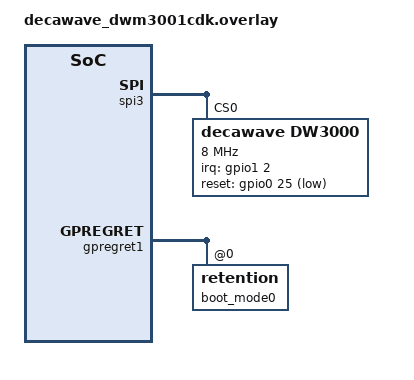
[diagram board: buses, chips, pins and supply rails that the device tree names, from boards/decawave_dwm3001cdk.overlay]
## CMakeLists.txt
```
cmake_minimum_required(VERSION 3.20.0)

# DW3000 driver module discovery:
#   - West workspace: auto-discovered from west.yml (WEST_TOPDIR is set)
#   - Fallback: build.sh passes -DZEPHYR_EXTRA_MODULES, or detect sibling dir
if(NOT DEFINED ZEPHYR_EXTRA_MODULES AND NOT DEFINED WEST_TOPDIR)
    if(EXISTS "${CMAKE_CURRENT_SOURCE_DIR}/../zephyr-dw3000-decadriver/zephyr/module.yml")
        list(APPEND ZEPHYR_EXTRA_MODULES
            ${CMAKE_CURRENT_SOURCE_DIR}/../zephyr-dw3000-decadriver
        )
    endif()
endif()

find_package(Zephyr REQUIRED HINTS $ENV{ZEPHYR_BASE})

project(uwb_mesh_tracker VERSION 1.0.0)

target_sources(app PRIVATE
    src/main.c
    src/uwb_manager.c
    src/thread_coap.c
    src/device_config.c
    src/uci.c
    src/uci_uart.c
    src/uci_coap.c
)

target_include_directories(app PRIVATE src)

# Workaround: pm_sysflash.h in the MCUboot utility library only checks
# CONFIG_SINGLE_APPLICATION_SLOT (an MCUboot-only Kconfig), not
# CONFIG_MCUBOOT_BOOTLOADER_MODE_SINGLE_APP (the app-level equivalent).
# Propagate the define so the correct single-slot code path is used.
if(CONFIG_MCUBOOT_BOOTLOADER_MODE_SINGLE_APP)
    zephyr_compile_definitions(CONFIG_SINGLE_APPLICATION_SLOT=1)
endif()
```

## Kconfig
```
mainmenu "UWB Mesh Tracker Configuration"

# Node role selection
choice NODE_ROLE
    prompt "Node Role"
    default NODE_ROLE_ANCHOR

config NODE_ROLE_ANCHOR
    bool "Anchor (fixed, DS-TWR responder)"
    help
      This node acts as a fixed anchor. It responds to DS-TWR ranging
      requests from tags, calculates the distance, and reports it to
      the CoAP server over the Thread network.

config NODE_ROLE_TAG
    bool "Tag (mobile, DS-TWR initiator)"
    help
      This node acts as a mobile tag. It initiates DS-TWR exchanges
      with each known anchor to measure distances.

endchoice

config UWB_NODE_SHORT_ADDR
    hex "Node 16-bit UWB short address"
    default 0x0001
    range 0x0001 0xFFFE
    help
      Unique 16-bit short address for this node's UWB MAC.
      Must be unique across all anchors and tags in the network.
      Anchors: 0x0001-0x00FF, Tags: 0x0100-0xFFFE (convention).

config UWB_RANGING_INTERVAL_MS
    int "Ranging interval in milliseconds"
    default 1000
    range 100 10000
    help
      Time between successive ranging cycles. For tags, this is the
      delay between completing one full sweep of all anchors and
      starting the next.

config COAP_SERVER_ADDR
    string "CoAP server IPv6 address"
    default "ff03::1"
    help
      IPv6 address of the CoAP server to POST distance measurements to.
      Default ff03::1 is the Thread realm-local all-nodes multicast.
      For production, set to the server's Thread mesh-local address
      (e.g., "fdde:ad00:beef::1") for unicast delivery.

config COAP_SERVER_PORT
    int "CoAP server port"
    default 5683
    help
      UDP port of the CoAP server.

config THREAD_NETWORK_KEY
    string "OpenThread Network Key (16 bytes hex)"
    default "00:11:22:33:44:55:66:77:88:99:aa:bb:cc:dd:ee:ff"
    help
      OpenThread network key. Must match across all nodes and the
      border router. Change this for production deployments.

config THREAD_CHANNEL
    int "OpenThread channel"
    default 15
    range 11 26
    help
      IEEE 802.15.4 channel for the Thread network.

config THREAD_PAN_ID
    hex "OpenThread PAN ID"
    default 0xABCD
    help
      Thread network PAN ID. Must match across all nodes.

config UCI_AUTOSTART
    bool "Auto-start ranging on boot"
    default y
    help
      When enabled, the device starts UWB ranging immediately on boot
      using the saved configuration. When disabled, ranging must be
      started via a UCI START command.

source "Kconfig.zephyr"
```

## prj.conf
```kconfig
# ============================================================
# UWB Mesh Tracker - Base Project Configuration
# Board-specific overrides go in boards/<board>.conf
# ============================================================

# --- OpenThread (Full Thread Device) ---
CONFIG_OPENTHREAD_FTD=y
CONFIG_OPENTHREAD=y

# --- Networking ---
CONFIG_NETWORKING=y
CONFIG_NET_L2_OPENTHREAD=y
CONFIG_NET_IPV6=y
CONFIG_NET_UDP=y
CONFIG_NET_SOCKETS=y
CONFIG_NET_SOCKETS_POLL_MAX=4
CONFIG_NET_CONNECTION_MANAGER=y

# --- CoAP ---
CONFIG_COAP=y
CONFIG_OPENTHREAD_COAP=y

# --- DW3000 UWB Driver ---
CONFIG_DW3000=y
CONFIG_SPI=y
CONFIG_GPIO=y

# --- System ---
CONFIG_FPU=y
CONFIG_NEWLIB_LIBC=y
CONFIG_CBPRINTF_FP_SUPPORT=y

# --- Stacks & Heap ---
CONFIG_MAIN_STACK_SIZE=4096
CONFIG_SYSTEM_WORKQUEUE_STACK_SIZE=8192
CONFIG_HEAP_MEM_POOL_SIZE=16384

# --- OpenThread Network Parameters (override in boards/*.conf) ---
CONFIG_OPENTHREAD_NETWORKKEY="00:11:22:33:44:55:66:77:88:99:aa:bb:cc:dd:ee:ff"
CONFIG_OPENTHREAD_CHANNEL=15
CONFIG_OPENTHREAD_PANID=43981
CONFIG_OPENTHREAD_XPANID="11:11:11:11:22:22:22:22"

# --- Shell (disabled — UCI replaces it; saves ~3KB RAM) ---
CONFIG_SHELL=n
CONFIG_OPENTHREAD_SHELL=n

# --- Reboot support (for factory reset command) ---
CONFIG_REBOOT=y

# --- Boot mode retention (enter MCUboot serial recovery via UCI command) ---
CONFIG_RETAINED_MEM=y
CONFIG_RETENTION=y
CONFIG_RETENTION_BOOT_MODE=y

# --- UCI UART transport requires interrupt-driven RX ---
CONFIG_UART_INTERRUPT_DRIVEN=y

# --- Settings (needed for OpenThread credential storage) ---
CONFIG_SETTINGS=y
CONFIG_SETTINGS_RUNTIME=y
CONFIG_NVS=y

# --- Logging ---
CONFIG_LOG=y
CONFIG_LOG_DEFAULT_LEVEL=3
CONFIG_DW3000_LOG_LEVEL_WRN=y

# --- IEEE 802.15.4 (Thread radio driver, L2 handled by OpenThread) ---
CONFIG_IEEE802154=y
```

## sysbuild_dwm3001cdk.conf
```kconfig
# DWM3001CDK (nRF52833, 512KB flash) — single-slot MCUboot (secure boot only,
# OTA not supported — 512KB flash too small for dual-slot with ~330KB app image)
SB_CONFIG_MCUBOOT_MODE_SINGLE_APP=y
```

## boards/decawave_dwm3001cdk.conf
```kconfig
# ============================================================
# Decawave DWM3001CDK Configuration
# Embedded nRF52833 + QM33120 (DW3720-compatible) UWB module
# Default role: TAG
# ============================================================

# Chip variant: raw SPI reads 0xDECA0302 (DW3000 family, non-PDOA silicon).
# Using DW3000 driver (devid=0xDECA0312, mask=0xFFFFFF0F) which matches 0x0302.
CONFIG_DW3000_CHIP_DW3000=y

# Node role: tag by default for DWM3001CDK
CONFIG_NODE_ROLE_TAG=y

# Node address for this tag (change per device)
# Tag addresses: 0x0100, 0x0101, 0x0102, ...
CONFIG_UWB_NODE_SHORT_ADDR=0x0100

# UART log backend
CONFIG_LOG_BACKEND_UART=y

# Log thread at priority 1 (just below UWB thread at 2, above everything else)
CONFIG_LOG_PROCESS_THREAD_CUSTOM_PRIORITY=y
CONFIG_LOG_PROCESS_THREAD_PRIORITY=1

# Reduce settings partition from 32KB to 16KB (512KB flash is tight with MCUboot)
CONFIG_PM_PARTITION_SIZE_SETTINGS_STORAGE=0x4000

# --- RAM savings (nRF52833 has only 128KB RAM) ---
# Override prj.conf stack/heap increases that were needed for anchor's MCUmgr crash
CONFIG_SYSTEM_WORKQUEUE_STACK_SIZE=2048
CONFIG_HEAP_MEM_POOL_SIZE=8192

# --- nRF SDK-specific settings (not in upstream Zephyr) ---
CONFIG_COAP_UTILS=y
CONFIG_MBEDTLS_SHA1_C=n
CONFIG_DK_LIBRARY=y

# --- MCUmgr OTA (SMP over UDP) ---
CONFIG_MCUMGR=y
CONFIG_ZCBOR=y
CONFIG_CRC=y
CONFIG_STREAM_FLASH=y
CONFIG_FLASH=y
CONFIG_FLASH_MAP=y
CONFIG_IMG_MANAGER=y
CONFIG_MCUMGR_GRP_IMG=y
CONFIG_MCUMGR_GRP_OS=y
CONFIG_MCUMGR_TRANSPORT_UDP=y
CONFIG_MCUMGR_TRANSPORT_UDP_IPV6=y
CONFIG_MCUMGR_TRANSPORT_UDP_STACK_SIZE=2048
CONFIG_MCUMGR_TRANSPORT_UDP_THREAD_PRIO=5
CONFIG_NET_SOCKETS_POLL_MAX=6
```

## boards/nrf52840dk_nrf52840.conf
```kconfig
# ============================================================
# nRF52840 DK + DWM3000EVB Shield Configuration
# Default role: ANCHOR
# ============================================================

# DW3000 chip variant (standard DW3000 on DWM3000EVB)
CONFIG_DW3000_CHIP_DW3000=y

# Node role: anchor by default for nRF52840DK
CONFIG_NODE_ROLE_ANCHOR=y

# Node address for this anchor (change per device)
# Anchor addresses: 0x0001, 0x0002, 0x0003, ...
CONFIG_UWB_NODE_SHORT_ADDR=0x0001

# UART1 must be disabled for DWM3000EVB shield SPI polarity/phase pins
# (already handled in shield overlay)

# Disable external QSPI NOR flash (MX25R6435F) - we don't need it
# and it can hang during init on some hardware configurations
CONFIG_NORDIC_QSPI_NOR=n

# UART log backend (output via J-Link virtual COM port, /dev/ttyACM1 or ACM2)
CONFIG_LOG_BACKEND_UART=y

# Log thread at priority 1 (just below UWB thread at 2, above everything else)
CONFIG_LOG_PROCESS_THREAD_CUSTOM_PRIORITY=y
CONFIG_LOG_PROCESS_THREAD_PRIORITY=1

# --- nRF SDK-specific settings (not in upstream Zephyr) ---
CONFIG_COAP_UTILS=y
CONFIG_PM_PARTITION_SIZE_SETTINGS_STORAGE=0x8000
CONFIG_MBEDTLS_SHA1_C=n
CONFIG_DK_LIBRARY=y

# --- MCUmgr OTA (SMP over UDP) ---
CONFIG_MCUMGR=y
CONFIG_ZCBOR=y
CONFIG_CRC=y
CONFIG_STREAM_FLASH=y
CONFIG_FLASH=y
CONFIG_FLASH_MAP=y
CONFIG_IMG_MANAGER=y
CONFIG_MCUMGR_GRP_IMG=y
CONFIG_MCUMGR_GRP_OS=y
CONFIG_MCUMGR_TRANSPORT_UDP=y
CONFIG_MCUMGR_TRANSPORT_UDP_IPV6=y
CONFIG_MCUMGR_TRANSPORT_UDP_STACK_SIZE=2048
CONFIG_MCUMGR_TRANSPORT_UDP_THREAD_PRIO=5
CONFIG_NET_SOCKETS_POLL_MAX=6
```

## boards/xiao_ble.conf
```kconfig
# ============================================================
# Seeed XIAO BLE (nRF52840) + DWM3000EVB (jumper wires)
# Default role: TAG (addr 0x0200)
# nRF52840: 1024KB flash, 256KB RAM — MCUboot dual-slot with OTA
# ============================================================

# DW3000 chip variant (standard DW3000 on DWM3000EVB)
CONFIG_DW3000_CHIP_DW3000=y

# Node role: anchor by default for XIAO BLE
CONFIG_NODE_ROLE_ANCHOR=y

# Node address for this tag
# Tag addresses: 0x0100 (DWM3001CDK), 0x0200 (XIAO), 0x0201, ...
CONFIG_UWB_NODE_SHORT_ADDR=0x0200

# Disable QSPI NOR flash (not needed for this application)
CONFIG_NORDIC_QSPI_NOR=n

# DK library for LED control (XIAO has 3 RGB LEDs, no buttons)
CONFIG_DK_LIBRARY=y

# Log backends
CONFIG_LOG_BACKEND_UART=y
CONFIG_USE_SEGGER_RTT=y
CONFIG_LOG_BACKEND_RTT=y

# Log thread at priority 1 (just below UWB thread at 2, above everything else)
CONFIG_LOG_PROCESS_THREAD_CUSTOM_PRIORITY=y
CONFIG_LOG_PROCESS_THREAD_PRIORITY=1

# MCUmgr for OTA updates (MCUboot enabled via sysbuild)
CONFIG_ZCBOR=y
CONFIG_MCUMGR=y
CONFIG_IMG_MANAGER=y
CONFIG_MCUMGR_GRP_IMG=y
CONFIG_MCUMGR_GRP_OS=y
CONFIG_MCUMGR_TRANSPORT_UDP=y
CONFIG_MCUMGR_TRANSPORT_UDP_IPV6=y
CONFIG_MCUMGR_TRANSPORT_UDP_STACK_SIZE=2048
CONFIG_MCUMGR_TRANSPORT_UDP_THREAD_PRIO=5
CONFIG_STREAM_FLASH=y

# Boot mode retention (enter MCUboot via UCI command)
CONFIG_RETAINED_MEM=y
CONFIG_RETENTION=y
CONFIG_RETENTION_BOOT_MODE=y

# Hardware watchdog (auto-reset on hang instead of requiring power cycle)
CONFIG_WATCHDOG=y
CONFIG_WDT_DISABLE_AT_BOOT=n

# --- nRF SDK-specific settings (not in upstream Zephyr) ---
CONFIG_COAP_UTILS=y
CONFIG_MBEDTLS_SHA1_C=n
```

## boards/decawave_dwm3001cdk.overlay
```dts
/*
 * DWM3001CDK DW3000 UWB device overlay
 *
 * The DWM3001CDK module has an embedded QM33120 (DW3720-compatible)
 * UWB chip connected to the nRF52833 via SPI3.
 *
 * SPI3 pins (from base board DTS / pinctrl):
 *   SCK:  P0.03
 *   MOSI: P0.08
 *   MISO: P0.29
 *   CS:   P1.06 (cs-gpios in base DTS)
 *
 * UWB chip control pins (from Qorvo DWM3001CDK FreeRTOS SDK
 * CLI/DWM3001CDK/ProjectDefinition/uwb_stack_llhw.cmake):
 *   IRQ:    P1.02  (active high)
 *   RESET:  P0.25  (active low)
 *   WAKEUP: P1.19  (active high) — NOT used; QM33120 wakes via CS pin toggle
 *
 * The QM33120 on DWM3001CDK wakes from deep sleep via SPI CS held low for
 * ≥400µs (Qorvo SDK: WAKEUP_CS_TOGGLE_US=400, WAKEUP_DELAY_US=500).
 * The WAKEUP GPIO pin approach (1ms pulse) does not reliably wake the chip.
 * Omitting wakeup-gpios forces dw3000_hw_wakeup() to use CS-based wakeup.
 */

&spi3 {
    dw3000: dw3000@0 {
        compatible = "decawave,dw3000";
        spi-max-frequency = <8000000>;
        reg = <0>;
        irq-gpios   = <&gpio1 2  GPIO_ACTIVE_HIGH>;
        reset-gpios = <&gpio0 25 GPIO_ACTIVE_LOW>;
    };
};

/* Boot mode retention via GPREGRET register — allows entering MCUboot serial
 * recovery without physical button press (UCI enter-bootloader command).
 * GPREGRET1 is a 1-byte hardware register that survives soft resets. */
&gpregret1 {
	boot_mode0: boot_mode@0 {
		compatible = "zephyr,retention";
		status = "okay";
		reg = <0x0 0x1>;
	};
};

/ {
	chosen {
		zephyr,boot-mode = &boot_mode0;
	};
};
```

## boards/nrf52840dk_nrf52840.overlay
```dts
/*
 * DWM3000EVB Shield overlay for nRF52840 DK
 *
 * The DWM3000EVB plugs into the Arduino header of the nRF52840 DK.
 * Pin mapping from qorvo_dws3000 shield:
 *   SPI:     arduino_spi (SPI3)
 *   CS:      D10 = P1.12
 *   WAKEUP:  D9  = P1.11
 *   IRQ:     D8  = P1.10
 *   RESET:   D7  = P1.08
 *   SPI_POL: D1  = P1.02  (requires UART1 disabled)
 *   SPI_PHA: D0  = P1.01  (requires UART1 disabled)
 *
 * NOTE: UART1 must be disabled so its pins (P1.01, P1.02) are free
 * for the DWM3000EVB SPI polarity/phase control.
 */

/* Disable UART1 to free Arduino D0/D1 pins for DWM3000EVB */
arduino_serial: &uart1 {
    status = "disabled";
};

/* Add DW3000 device to the Arduino SPI bus */
&arduino_spi {
    status = "okay";
    cs-gpios = <&arduino_header 16 GPIO_ACTIVE_LOW>; /* D10 = P1.12 */

    dw3000: dw3000@0 {
        compatible = "decawave,dw3000";
        spi-max-frequency = <16000000>;
        reg = <0>;
        wakeup-gpios  = <&arduino_header 15 GPIO_ACTIVE_HIGH>; /* D9  = P1.11 */
        irq-gpios     = <&arduino_header 14 GPIO_ACTIVE_HIGH>; /* D8  = P1.10 */
        reset-gpios   = <&arduino_header 13 GPIO_ACTIVE_LOW>;  /* D7  = P1.08 */
        spi-pol-gpios = <&arduino_header  7 GPIO_ACTIVE_LOW>;  /* D1  = P1.02 */
        spi-pha-gpios = <&arduino_header  6 GPIO_ACTIVE_LOW>;  /* D0  = P1.01 */
    };
};
```

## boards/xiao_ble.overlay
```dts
/*
 * DWM3000EVB wiring overlay for Seeed XIAO BLE (nRF52840)
 *
 * The XIAO has no Arduino header — the DWM3000EVB is connected via
 * jumper wires to the XIAO's D0–D10 breakout pins.
 *
 * Wiring:
 *   SPI SCK:   D8  (P1.13) — SPI2 clock
 *   SPI MOSI:  D10 (P1.15) — SPI2 master-out
 *   SPI MISO:  D9  (P1.14) — SPI2 master-in
 *   SPI CS:    D0  (P0.02) — chip select (active low)
 *   IRQ:       D1  (P0.03) — interrupt (active high)
 *   RESET:     D2  (P0.28) — reset (active low)
 *   WAKEUP:    D3  (P0.29) — wakeup (active high)
 *   SPI_POL:   D4  (P0.04) — SPI polarity control
 *   SPI_PHA:   D5  (P0.05) — SPI phase control
 *   3V3:       3V3          — power
 *   GND:       GND          — ground
 *
 * UART0 (D6=P1.11 TX, D7=P1.12 RX) remains available for UCI
 * serial transport via USB-C CDC ACM.
 *
 * NOTE: I2C1 is disabled because its SDA/SCL pins (P0.04/P0.05 = D4/D5)
 * are repurposed for DWM3000EVB SPI_POL/SPI_PHA.
 */

/* Disable I2C1 — its pins (D4/D5) are used for SPI_POL/SPI_PHA */
&i2c1 {
	status = "disabled";
};

/* Override SPI2 to use SPIM (DMA) instead of SPI (polled) for DW3000 */
&spi2 {
	compatible = "nordic,nrf-spim";
	status = "okay";
	cs-gpios = <&xiao_d 0 GPIO_ACTIVE_LOW>;  /* D0 = P0.02 */

	dw3000: dw3000@0 {
		compatible = "decawave,dw3000";
		spi-max-frequency = <16000000>;
		reg = <0>;
		irq-gpios     = <&xiao_d 1 GPIO_ACTIVE_HIGH>;  /* D1 = P0.03 */
		reset-gpios   = <&xiao_d 2 GPIO_ACTIVE_LOW>;   /* D2 = P0.28 */
		wakeup-gpios  = <&xiao_d 3 GPIO_ACTIVE_HIGH>;  /* D3 = P0.29 */
		spi-pol-gpios = <&xiao_d 4 GPIO_ACTIVE_LOW>;   /* D4 = P0.04 */
		spi-pha-gpios = <&xiao_d 5 GPIO_ACTIVE_LOW>;   /* D5 = P0.05 */
	};
};

/*
 * MCUboot partition layout — replaces UF2+SoftDevice layout.
 * Partition manager (pm_static_xiao_ble.yml) handles actual layout.
 * DTS overrides here keep nodelabels consistent for MCUboot/sysbuild.
 */

/* Repurpose existing partitions from UF2 layout */
&boot_partition {
	reg = <0x00000 0xC000>;
	label = "mcuboot";
};

&code_partition {
	label = "image-0";
	reg = <0x0C000 0x6E000>;
};

&storage_partition {
	reg = <0xF8000 0x8000>;
};

/* Add MCUboot slot partitions */
&flash0 {
	partitions {
		slot0_partition: partition@c000 {
			label = "image-0";
			reg = <0x0C000 0x6E000>;  /* 440 KB */
		};
		slot1_partition: partition@7a000 {
			label = "image-1";
			reg = <0x7A000 0x6E000>;  /* 440 KB */
		};
		scratch_partition: partition@e8000 {
			label = "image-scratch";
			reg = <0xE8000 0x10000>;  /* 64 KB */
		};
	};
};
```

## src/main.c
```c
/*
 * UWB Mesh Tracker - Main Application
 *
 * Boot sequence:
 *   1. Load config from NVS (or Kconfig defaults on first boot)
 *   2. Initialize LEDs
 *   3. Initialize Thread/CoAP networking
 *   4. Start UCI CoAP server (remote commands over Thread)
 *   5. Initialize DW3000 UWB transceiver
 *   6. Start UCI command interface on UART
 *   7. Auto-start ranging (if config says so)
 */

#include <zephyr/kernel.h>
#include <zephyr/logging/log.h>
#include <zephyr/sys/printk.h>
#include <zephyr/drivers/watchdog.h>
#include "leds.h"

#include "device_config.h"
#include "uwb_manager.h"
#include "thread_coap.h"

LOG_MODULE_REGISTER(main, LOG_LEVEL_INF);

/* UCI transport init (defined in uci_uart.c and uci_coap.c) */
extern int uci_uart_init(void);
extern int uci_coap_init(void);

/* LED assignments */
#define LED_THREAD_OK   DK_LED1
#define LED_RANGING     DK_LED2

/* Non-blocking LED pulse: turn on in callback, schedule off via work item */
static void led_off_handler(struct k_work *work)
{
    dk_set_led(LED_RANGING, 0);
}
static K_WORK_DELAYABLE_DEFINE(led_off_work, led_off_handler);

/* ── Distance callback (called from UWB thread) ─────────────────── */
static void on_distance_measured(uint16_t anchor_id, uint16_t tag_id,
                                  float distance_m,
                                  int16_t rssi_q8, int16_t fp_power_q8,
                                  uint16_t fp_index, uint16_t peak_index)
{
    dk_set_led(LED_RANGING, 1);
    k_work_schedule(&led_off_work, K_MSEC(20));

    if (g_config.role == ROLE_ANCHOR) {
        thread_coap_send_distance(anchor_id, tag_id, distance_m,
                                  rssi_q8, fp_power_q8, fp_index, peak_index);
    }
}

/* ── Application Entry Point ─────────────────────────────────────── */
int main(void)
{
    int ret;

    printk("=== UWB Mesh Tracker boot ===\n");

    /* 1. Load persistent config */
    ret = device_config_init();
    if (ret) {
        LOG_ERR("Config init failed: %d", ret);
        return ret;
    }

    LOG_INF("Board: %s | Role: %s | Addr: 0x%04X",
            CONFIG_BOARD,
            g_config.role == ROLE_ANCHOR ? "ANCHOR" : "TAG",
            g_config.uwb_addr);

    /* 2. Initialize LEDs */
    ret = dk_leds_init();
    if (ret) {
        LOG_WRN("LED init failed: %d (continuing)", ret);
    }

    /* 3. Initialize Thread networking and CoAP client */
    ret = thread_coap_init();
    if (ret) {
        LOG_ERR("Thread/CoAP init failed: %d", ret);
        return ret;
    }

    /* 4. Start UCI CoAP server (remote commands over Thread) */
    ret = uci_coap_init();
    if (ret) {
        LOG_WRN("UCI CoAP init failed: %d (remote commands unavailable)", ret);
    }

    /* 5. Initialize DW3000 UWB transceiver */
    ret = uwb_manager_init();
    if (ret) {
        LOG_ERR("UWB manager init failed: %d", ret);
        return ret;
    }

    uwb_manager_set_distance_cb(on_distance_measured);
    uwb_manager_set_cir_cb(thread_coap_send_cir);

    /* 6. Start UCI command interface */
    ret = uci_uart_init();
    if (ret) {
        LOG_ERR("UCI UART init failed: %d", ret);
        return ret;
    }

    /* 7. Auto-start ranging if configured */
    if (g_config.autostart) {
        ret = uwb_manager_start();
        if (ret) {
            LOG_ERR("UWB manager start failed: %d", ret);
        }
    } else {
        LOG_INF("Ranging not auto-started (send UCI START command)");
    }

    /* Turn on LED1 to indicate app is running */
    dk_set_led_on(LED_THREAD_OK);

    /* Initialize hardware watchdog (auto-reset on hang) */
    int wdt_channel_id = -1;
#if defined(CONFIG_WATCHDOG)
    const struct device *const wdt_dev = DEVICE_DT_GET_OR_NULL(DT_ALIAS(watchdog0));
    if (wdt_dev && device_is_ready(wdt_dev)) {
        struct wdt_timeout_cfg wdt_cfg = {
            .window.min = 0,
            .window.max = 10000,  /* 10 second timeout */
            .callback = NULL,     /* reset on timeout */
            .flags = WDT_FLAG_RESET_SOC,
        };
        wdt_channel_id = wdt_install_timeout(wdt_dev, &wdt_cfg);
        if (wdt_channel_id >= 0) {
            wdt_setup(wdt_dev, WDT_OPT_PAUSE_HALTED_BY_DBG);
            LOG_INF("Watchdog enabled (10s timeout)");
        } else {
            LOG_WRN("Watchdog install failed: %d", wdt_channel_id);
        }
    }
#endif

    LOG_INF("Startup complete.");

    while (1) {
#if defined(CONFIG_WATCHDOG)
        if (wdt_channel_id >= 0) {
            wdt_feed(wdt_dev, wdt_channel_id);
        }
#endif
        k_msleep(5000);
    }

    return 0;
}
```

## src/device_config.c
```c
/*
 * Device Configuration — NVS-backed runtime config
 *
 * On first boot (or after factory reset) all values come from Kconfig.
 * Once device_config_save() is called, values persist in NVS and override
 * Kconfig on subsequent boots.
 */

#include <zephyr/kernel.h>
#include <zephyr/logging/log.h>
#include <zephyr/settings/settings.h>
#include <string.h>
#include <soc.h>
#include <hal/nrf_ficr.h>

#include "device_config.h"

LOG_MODULE_REGISTER(device_config, LOG_LEVEL_INF);

/* ── Global config instance ──────────────────────────────────────── */

struct device_config g_config;

/* ── Settings keys (under "uwb/" namespace) ──────────────────────── */

#define SETTINGS_KEY_ROLE      "uwb/role"
#define SETTINGS_KEY_ADDR      "uwb/addr"
#define SETTINGS_KEY_INTERVAL  "uwb/interval"
#define SETTINGS_KEY_SERVER    "uwb/server"
#define SETTINGS_KEY_PORT      "uwb/port"
#define SETTINGS_KEY_AUTOSTART "uwb/autostart"
#define SETTINGS_KEY_CAL_OFFSET "uwb/cal_offset"
#define SETTINGS_KEY_DISC_INTERVAL "uwb/disc_int"

/* ── Load Kconfig defaults into g_config ─────────────────────────── */

/**
 * Derive a unique UWB short address from the chip's factory device ID.
 * Uses FICR DEVICEID[0..1] (64-bit unique per chip) hashed to 16 bits.
 * Result is in range [0x0100, 0xFFFE] to avoid broadcast (0xFFFF) and
 * the anchor range (0x0001–0x00FF).
 */
static uint16_t derive_addr_from_device_id(void)
{
    uint32_t id0 = nrf_ficr_deviceid_get(NRF_FICR, 0);
    uint32_t id1 = nrf_ficr_deviceid_get(NRF_FICR, 1);
    /* xor-fold 64 bits to 16 bits */
    uint16_t hash = (uint16_t)(id0 ^ (id0 >> 16) ^ id1 ^ (id1 >> 16));
    /* Clamp to tag range [0x0100, 0xFFFE] */
    if (hash < 0x0100) {
        hash += 0x0100;
    }
    if (hash == 0xFFFF) {
        hash = 0xFFFE;
    }
    return hash;
}

static void load_defaults(void)
{
    g_config.role = IS_ENABLED(CONFIG_NODE_ROLE_TAG) ? ROLE_TAG : ROLE_ANCHOR;
    g_config.uwb_addr = derive_addr_from_device_id();
    g_config.ranging_interval_ms = CONFIG_UWB_RANGING_INTERVAL_MS;
    strncpy(g_config.server_addr, CONFIG_COAP_SERVER_ADDR,
            sizeof(g_config.server_addr) - 1);
    g_config.server_addr[sizeof(g_config.server_addr) - 1] = '\0';
    g_config.server_port = CONFIG_COAP_SERVER_PORT;
    g_config.autostart = true;
    g_config.calibration_offset_mm = 0;
    g_config.discovery_interval = 0;
}

/* ── Settings handler (called by settings_load()) ────────────────── */

static int config_set(const char *name, size_t len, settings_read_cb read_cb,
                      void *cb_arg)
{
    if (!strcmp(name, "role")) {
        if (len != sizeof(g_config.role)) return -EINVAL;
        return read_cb(cb_arg, &g_config.role, sizeof(g_config.role));
    }
    if (!strcmp(name, "addr")) {
        if (len != sizeof(g_config.uwb_addr)) return -EINVAL;
        return read_cb(cb_arg, &g_config.uwb_addr, sizeof(g_config.uwb_addr));
    }
    if (!strcmp(name, "interval")) {
        if (len != sizeof(g_config.ranging_interval_ms)) return -EINVAL;
        return read_cb(cb_arg, &g_config.ranging_interval_ms,
                       sizeof(g_config.ranging_interval_ms));
    }
    if (!strcmp(name, "server")) {
        if (len >= sizeof(g_config.server_addr)) return -EINVAL;
        memset(g_config.server_addr, 0, sizeof(g_config.server_addr));
        return read_cb(cb_arg, g_config.server_addr, len);
    }
    if (!strcmp(name, "port")) {
        if (len != sizeof(g_config.server_port)) return -EINVAL;
        return read_cb(cb_arg, &g_config.server_port, sizeof(g_config.server_port));
    }
    if (!strcmp(name, "autostart")) {
        if (len != sizeof(g_config.autostart)) return -EINVAL;
        return read_cb(cb_arg, &g_config.autostart, sizeof(g_config.autostart));
    }
    if (!strcmp(name, "cal_offset")) {
        if (len != sizeof(g_config.calibration_offset_mm)) return -EINVAL;
        return read_cb(cb_arg, &g_config.calibration_offset_mm,
                       sizeof(g_config.calibration_offset_mm));
    }
    if (!strcmp(name, "disc_int")) {
        if (len != sizeof(g_config.discovery_interval)) return -EINVAL;
        return read_cb(cb_arg, &g_config.discovery_interval,
                       sizeof(g_config.discovery_interval));
    }

    return -ENOENT;
}

SETTINGS_STATIC_HANDLER_DEFINE(uwb, "uwb", NULL, config_set, NULL, NULL);

/* ── Public API ───────────────────────────────────────────────────── */

int device_config_init(void)
{
    /* Start with Kconfig defaults */
    load_defaults();

    /* Load NVS overrides (if any) */
    int ret = settings_subsys_init();
    if (ret) {
        LOG_ERR("settings_subsys_init failed: %d", ret);
        return ret;
    }

    ret = settings_load();
    if (ret) {
        LOG_ERR("settings_load failed: %d", ret);
        return ret;
    }

    LOG_INF("Config: role=%s addr=0x%04X interval=%u ms server=[%s]:%u auto=%d cal=%d disc=%u",
            g_config.role == ROLE_TAG ? "TAG" : "ANCHOR",
            g_config.uwb_addr,
            g_config.ranging_interval_ms,
            g_config.server_addr,
            g_config.server_port,
            g_config.autostart,
            g_config.calibration_offset_mm,
            g_config.discovery_interval);

    return 0;
}

int device_config_save(void)
{
    int ret = 0;
    int r;

    r = settings_save_one(SETTINGS_KEY_ROLE, &g_config.role,
                          sizeof(g_config.role));
    if (r) { LOG_ERR("save role: %d", r); ret = r; }

    r = settings_save_one(SETTINGS_KEY_ADDR, &g_config.uwb_addr,
                          sizeof(g_config.uwb_addr));
    if (r) { LOG_ERR("save addr: %d", r); ret = r; }

    r = settings_save_one(SETTINGS_KEY_INTERVAL, &g_config.ranging_interval_ms,
                          sizeof(g_config.ranging_interval_ms));
    if (r) { LOG_ERR("save interval: %d", r); ret = r; }

    r = settings_save_one(SETTINGS_KEY_SERVER, g_config.server_addr,
                          strlen(g_config.server_addr) + 1);
    if (r) { LOG_ERR("save server: %d", r); ret = r; }

    r = settings_save_one(SETTINGS_KEY_PORT, &g_config.server_port,
                          sizeof(g_config.server_port));
    if (r) { LOG_ERR("save port: %d", r); ret = r; }

    r = settings_save_one(SETTINGS_KEY_AUTOSTART, &g_config.autostart,
                          sizeof(g_config.autostart));
    if (r) { LOG_ERR("save autostart: %d", r); ret = r; }

    r = settings_save_one(SETTINGS_KEY_CAL_OFFSET, &g_config.calibration_offset_mm,
                          sizeof(g_config.calibration_offset_mm));
    if (r) { LOG_ERR("save cal_offset: %d", r); ret = r; }

    r = settings_save_one(SETTINGS_KEY_DISC_INTERVAL, &g_config.discovery_interval,
                          sizeof(g_config.discovery_interval));
    if (r) { LOG_ERR("save disc_int: %d", r); ret = r; }

    if (!ret) {
        LOG_INF("Config saved to NVS");
    }
    return ret;
}

int device_config_reset(void)
{
    int ret = 0;
    int r;

    r = settings_delete(SETTINGS_KEY_ROLE);      if (r) ret = r;
    r = settings_delete(SETTINGS_KEY_ADDR);      if (r) ret = r;
    r = settings_delete(SETTINGS_KEY_INTERVAL);  if (r) ret = r;
    r = settings_delete(SETTINGS_KEY_SERVER);    if (r) ret = r;
    r = settings_delete(SETTINGS_KEY_PORT);      if (r) ret = r;
    r = settings_delete(SETTINGS_KEY_AUTOSTART);   if (r) ret = r;
    r = settings_delete(SETTINGS_KEY_CAL_OFFSET);  if (r) ret = r;
    r = settings_delete(SETTINGS_KEY_DISC_INTERVAL); if (r) ret = r;

    if (!ret) {
        LOG_INF("Config erased — defaults will be used on next boot");
    }

    /* Reload defaults into runtime struct */
    load_defaults();

    return ret;
}
```

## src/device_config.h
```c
#ifndef DEVICE_CONFIG_H
#define DEVICE_CONFIG_H

#include <stdint.h>
#include <stdbool.h>

/* Node roles */
#define ROLE_ANCHOR 0
#define ROLE_TAG    1

/* Maximum IPv6 address string length (e.g. "fdde:ad00:beef::1") */
#define SERVER_ADDR_MAX_LEN 46

struct device_config {
    uint8_t  role;                          /* ROLE_ANCHOR or ROLE_TAG */
    uint16_t uwb_addr;                     /* UWB short address */
    uint16_t ranging_interval_ms;          /* Interval between ranging cycles */
    char     server_addr[SERVER_ADDR_MAX_LEN]; /* CoAP server IPv6 string */
    uint16_t server_port;                  /* CoAP server UDP port */
    bool     autostart;                    /* Auto-start ranging on boot */
    int16_t  calibration_offset_mm;        /* Distance calibration offset (mm) */
    uint16_t discovery_interval;           /* Discovery every N cycles (0=disabled) */
};

/* Global runtime config — initialized by device_config_init() */
extern struct device_config g_config;

/**
 * @brief Load config from NVS. Missing keys fall back to Kconfig defaults.
 * Must be called once early in main(), before other subsystems read g_config.
 * @return 0 on success, negative errno on failure.
 */
int device_config_init(void);

/**
 * @brief Persist current g_config to NVS flash.
 * @return 0 on success, negative errno on failure.
 */
int device_config_save(void);

/**
 * @brief Erase all saved config from NVS, restoring Kconfig defaults.
 * Does NOT reboot — caller should reboot after this returns.
 * @return 0 on success, negative errno on failure.
 */
int device_config_reset(void);

#endif /* DEVICE_CONFIG_H */
```

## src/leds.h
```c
/*
 * LED abstraction — wraps dk_buttons_and_leds.h
 */

#ifndef LEDS_H
#define LEDS_H

#include <dk_buttons_and_leds.h>

#endif /* LEDS_H */
```

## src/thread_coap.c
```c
/*
 * Thread CoAP Client - Distance Reporting
 *
 * Manages the OpenThread network connection and sends distance
 * measurement reports to the CoAP server as UDP POST requests.
 *
 * CoAP resource: POST /distance
 *
 * Binary payload (20 bytes, little-endian):
 *   [0-1]   anchor_id    (uint16_t)
 *   [2-3]   tag_id       (uint16_t)
 *   [4-7]   distance_mm  (uint32_t, millimeters)
 *   [8-11]  uptime_s     (uint32_t, seconds since boot)
 *   [12-13] rssi_q8      (int16_t, channel RSSI in Q8.8 dBm)
 *   [14-15] fp_power_q8  (int16_t, first-path power in Q8.8 dBm)
 *   [16-17] fp_index     (uint16_t, first-path CIR index, Q10.6)
 *   [18-19] peak_index   (uint16_t, peak CIR sample index)
 */

#include <zephyr/kernel.h>
#include <zephyr/logging/log.h>
#include <zephyr/net/socket.h>
#include <zephyr/net/coap.h>
#include <net/coap_utils.h>
#include <openthread.h>
#include <openthread/thread.h>

#include "thread_coap.h"
#include "device_config.h"

LOG_MODULE_REGISTER(thread_coap, LOG_LEVEL_INF);

/* CoAP resource path components */
static const char *const distance_uri[] = { "distance", NULL };
static const char *const event_uri[]    = { "event",    NULL };
static const char *const cir_uri[]      = { "cir",      NULL };

/* Server address (parsed from CONFIG_COAP_SERVER_ADDR at init) */
static struct sockaddr_in6 server_addr = {
    .sin6_family = AF_INET6,
    .sin6_port   = 0,   /* filled at init */
};

/* Work queue for async CoAP sends */
#define COAP_WORKQ_STACK_SIZE 2048
#define COAP_WORKQ_PRIORITY   5

K_THREAD_STACK_DEFINE(coap_workq_stack, COAP_WORKQ_STACK_SIZE);
static struct k_work_q coap_workq;

/* Pending measurement for the work item */
struct distance_measurement {
    uint16_t anchor_id;
    uint16_t tag_id;
    float    distance_m;
    int16_t  rssi_q8;
    int16_t  fp_power_q8;
    uint16_t fp_index;
    uint16_t peak_index;
};

#define MEAS_QUEUE_DEPTH 8
K_MSGQ_DEFINE(meas_queue, sizeof(struct distance_measurement),
              MEAS_QUEUE_DEPTH, 4);

/* Pending UWB event for the event work item */
struct uwb_event_msg {
    uint16_t node_id;
    uint8_t  event;
    uint8_t  seq;
};

#define EVT_QUEUE_DEPTH 16
K_MSGQ_DEFINE(evt_queue, sizeof(struct uwb_event_msg),
              EVT_QUEUE_DEPTH, 4);

/* CIR capture payload: 20-byte header + 192 bytes of I/Q data */
#define CIR_NUM_SAMPLES 48

struct cir_measurement {
    uint16_t anchor_id;
    uint16_t tag_id;
    uint32_t distance_mm;
    uint16_t fp_index;
    uint16_t sample_offset;
    uint8_t  num_samples;
    uint32_t cir_data[CIR_NUM_SAMPLES];
};

#define CIR_QUEUE_DEPTH 2
K_MSGQ_DEFINE(cir_queue, sizeof(struct cir_measurement),
              CIR_QUEUE_DEPTH, 4);

static struct k_work send_work;
static struct k_work send_evt_work;
static struct k_work send_cir_work;
static bool thread_connected = false;

/* ── Binary payload encoding ─────────────────────────────────────── */

struct __packed distance_payload {
    uint16_t anchor_id;
    uint16_t tag_id;
    uint32_t distance_mm;
    uint32_t uptime_s;
    int16_t  rssi_q8;
    int16_t  fp_power_q8;
    uint16_t fp_index;
    uint16_t peak_index;
};

/* Event payload (6 bytes, little-endian):
 *   [0-1] node_id  (uint16_t)
 *   [2]   event    (uint8_t)  — UWB_EVT_* constant
 *   [3]   seq      (uint8_t)  — frame sequence number
 *   [4-5] reserved (uint16_t) — zero
 */
struct __packed event_payload {
    uint16_t node_id;
    uint8_t  event;
    uint8_t  seq;
    uint16_t reserved;
};

/* CIR payload (212 bytes, little-endian):
 *   [0-1]   anchor_id      (uint16)
 *   [2-3]   tag_id         (uint16)
 *   [4-7]   distance_mm    (uint32)
 *   [8-11]  uptime_s       (uint32)
 *   [12-13] fp_index       (uint16, Q10.6)
 *   [14-15] sample_offset  (uint16)
 *   [16]    num_samples    (uint8)
 *   [17]    read_mode      (uint8) — DWT_CIR_READ_HI=3
 *   [18-19] reserved       (uint16)
 *   [20..] cir_data        (num_samples × 4 bytes: int16 real + int16 imag)
 */
struct __packed cir_payload {
    uint16_t anchor_id;
    uint16_t tag_id;
    uint32_t distance_mm;
    uint32_t uptime_s;
    uint16_t fp_index;
    uint16_t sample_offset;
    uint8_t  num_samples;
    uint8_t  read_mode;
    uint16_t reserved;
    uint32_t cir_data[CIR_NUM_SAMPLES];
};

/* ── CoAP send work handler ──────────────────────────────────────── */

static void coap_send_work_handler(struct k_work *work)
{
    ARG_UNUSED(work);

    struct distance_measurement meas;

    while (k_msgq_get(&meas_queue, &meas, K_NO_WAIT) == 0) {
        struct distance_payload payload = {
            .anchor_id   = meas.anchor_id,
            .tag_id      = meas.tag_id,
            .distance_mm = (uint32_t)(meas.distance_m * 1000.0f),
            .uptime_s    = (uint32_t)(k_uptime_get() / 1000),
            .rssi_q8     = meas.rssi_q8,
            .fp_power_q8 = meas.fp_power_q8,
            .fp_index    = meas.fp_index,
            .peak_index  = meas.peak_index,
        };

        int ret = coap_send_request(COAP_METHOD_POST,
                                    (const struct sockaddr *)&server_addr,
                                    distance_uri,
                                    (const uint8_t *)&payload,
                                    sizeof(payload),
                                    NULL);
        if (ret < 0) {
            LOG_WRN("CoAP POST /distance failed: %d", ret);
        } else {
            LOG_INF("CoAP POST /distance OK (ret=%d, %u bytes)",
                    ret, (unsigned)sizeof(payload));
        }
    }
}

/* ── CoAP event send work handler ───────────────────────────────── */

static void coap_send_evt_work_handler(struct k_work *work)
{
    ARG_UNUSED(work);

    struct uwb_event_msg msg;

    while (k_msgq_get(&evt_queue, &msg, K_NO_WAIT) == 0) {
        struct event_payload payload = {
            .node_id  = msg.node_id,
            .event    = msg.event,
            .seq      = msg.seq,
            .reserved = 0,
        };

        int ret = coap_send_request(COAP_METHOD_POST,
                                    (const struct sockaddr *)&server_addr,
                                    event_uri,
                                    (const uint8_t *)&payload,
                                    sizeof(payload),
                                    NULL);
        if (ret < 0) {
            LOG_WRN("Event CoAP POST failed: %d", ret);
        }
    }
}

/* ── CoAP CIR send work handler ────────────────────────────────── */

static void coap_send_cir_work_handler(struct k_work *work)
{
    ARG_UNUSED(work);

    struct cir_measurement meas;

    while (k_msgq_get(&cir_queue, &meas, K_NO_WAIT) == 0) {
        struct cir_payload payload = {
            .anchor_id     = meas.anchor_id,
            .tag_id        = meas.tag_id,
            .distance_mm   = meas.distance_mm,
            .uptime_s      = (uint32_t)(k_uptime_get() / 1000),
            .fp_index      = meas.fp_index,
            .sample_offset = meas.sample_offset,
            .num_samples   = meas.num_samples,
            .read_mode     = 3,  /* DWT_CIR_READ_HI */
            .reserved      = 0,
        };
        memcpy(payload.cir_data, meas.cir_data,
               meas.num_samples * sizeof(uint32_t));

        int ret = coap_send_request(COAP_METHOD_POST,
                                    (const struct sockaddr *)&server_addr,
                                    cir_uri,
                                    (const uint8_t *)&payload,
                                    sizeof(payload),
                                    NULL);
        if (ret < 0) {
            LOG_WRN("CIR CoAP POST failed: %d", ret);
        } else {
            LOG_DBG("CIR posted: %u samples @ offset %u",
                    meas.num_samples, meas.sample_offset);
        }
    }
}

/* ── OpenThread state change handler ────────────────────────────── */

static void thread_role_update(otDeviceRole role)
{
    switch (role) {
    case OT_DEVICE_ROLE_CHILD:
    case OT_DEVICE_ROLE_ROUTER:
    case OT_DEVICE_ROLE_LEADER:
        thread_connected = true;
        LOG_INF("Thread connected. Role: %s",
                role == OT_DEVICE_ROLE_LEADER ? "Leader" :
                role == OT_DEVICE_ROLE_ROUTER ? "Router" : "Child");
        break;
    default:
        thread_connected = false;
        LOG_INF("Thread disconnected");
        break;
    }
}

static void on_thread_state_changed(otChangedFlags flags, void *user_data)
{
    ARG_UNUSED(user_data);
    if (flags & OT_CHANGED_THREAD_ROLE) {
        struct otInstance *instance = openthread_get_default_instance();
        thread_role_update(otThreadGetDeviceRole(instance));
    }
}

static struct openthread_state_changed_callback ot_state_cb = {
    .otCallback = on_thread_state_changed,
};

/* ── Public API ───────────────────────────────────────────────────── */

int thread_coap_init(void)
{
    /* Parse server IPv6 address from runtime config */
    int ret = zsock_inet_pton(AF_INET6, g_config.server_addr,
                              &server_addr.sin6_addr);
    if (ret != 1) {
        LOG_ERR("Invalid server addr: '%s'", g_config.server_addr);
        return -EINVAL;
    }
    server_addr.sin6_port = htons(g_config.server_port);

    /* Initialize CoAP */
    coap_init(AF_INET6, NULL);

    /* Start CoAP work queue */
    k_work_queue_init(&coap_workq);
    k_work_queue_start(&coap_workq, coap_workq_stack,
                       K_THREAD_STACK_SIZEOF(coap_workq_stack),
                       COAP_WORKQ_PRIORITY, NULL);

    k_work_init(&send_work,     coap_send_work_handler);
    k_work_init(&send_evt_work, coap_send_evt_work_handler);
    k_work_init(&send_cir_work, coap_send_cir_work_handler);

    /* Register Thread state change callback and start the stack */
    openthread_state_changed_callback_register(&ot_state_cb);
    openthread_run();

    LOG_INF("Thread/CoAP initialized. Server: [%s]:%d",
            g_config.server_addr, g_config.server_port);
    return 0;
}

int thread_coap_set_server(const char *addr, uint16_t port)
{
    int ret = zsock_inet_pton(AF_INET6, addr, &server_addr.sin6_addr);
    if (ret != 1) {
        LOG_ERR("Invalid server addr: '%s'", addr);
        return -EINVAL;
    }
    server_addr.sin6_port = htons(port);
    LOG_INF("CoAP server updated: [%s]:%u", addr, port);
    return 0;
}

void thread_coap_send_event(uint16_t node_id, uint8_t event, uint8_t seq)
{
    if (!thread_connected) {
        return;
    }

    struct uwb_event_msg msg = {
        .node_id = node_id,
        .event   = event,
        .seq     = seq,
    };

    if (k_msgq_put(&evt_queue, &msg, K_NO_WAIT) != 0) {
        LOG_WRN("Event queue full, dropping");
    }

    k_work_submit_to_queue(&coap_workq, &send_evt_work);
}

void thread_coap_send_distance(uint16_t anchor_id, uint16_t tag_id,
                                float distance_m,
                                int16_t rssi_q8, int16_t fp_power_q8,
                                uint16_t fp_index, uint16_t peak_index)
{
    if (!thread_connected) {
        LOG_WRN("Distance dropped: Thread not connected");
        return;
    }

    struct distance_measurement meas = {
        .anchor_id   = anchor_id,
        .tag_id      = tag_id,
        .distance_m  = distance_m,
        .rssi_q8     = rssi_q8,
        .fp_power_q8 = fp_power_q8,
        .fp_index    = fp_index,
        .peak_index  = peak_index,
    };

    /* Drop oldest if queue is full (non-blocking put) */
    if (k_msgq_put(&meas_queue, &meas, K_NO_WAIT) != 0) {
        LOG_WRN("Measurement queue full, dropping oldest");
        struct distance_measurement dummy;
        k_msgq_get(&meas_queue, &dummy, K_NO_WAIT);
        k_msgq_put(&meas_queue, &meas, K_NO_WAIT);
    }

    LOG_INF("Queued dist: anchor=0x%04X tag=0x%04X %.3fm",
            anchor_id, tag_id, (double)distance_m);
    k_work_submit_to_queue(&coap_workq, &send_work);
}

void thread_coap_send_cir(uint16_t anchor_id, uint16_t tag_id,
                           uint32_t distance_mm,
                           uint16_t fp_index, uint16_t sample_offset,
                           const uint32_t *cir_data, uint8_t num_samples)
{
    if (!thread_connected) {
        return;
    }

    struct cir_measurement meas = {
        .anchor_id     = anchor_id,
        .tag_id        = tag_id,
        .distance_mm   = distance_mm,
        .fp_index      = fp_index,
        .sample_offset = sample_offset,
        .num_samples   = num_samples,
    };
    memcpy(meas.cir_data, cir_data, num_samples * sizeof(uint32_t));

    /* Drop if queue full — CIR is best-effort */
    if (k_msgq_put(&cir_queue, &meas, K_NO_WAIT) != 0) {
        LOG_WRN("CIR queue full, dropping");
    }

    k_work_submit_to_queue(&coap_workq, &send_cir_work);
}
```

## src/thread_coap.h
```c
#ifndef THREAD_COAP_H
#define THREAD_COAP_H

#include <stdint.h>

/* UWB event types reported by thread_coap_send_event() */
#define UWB_EVT_POLL_TX   0x01  /* Tag sent a POLL */
#define UWB_EVT_RESP_RX   0x02  /* Tag received a RESP */
#define UWB_EVT_FINAL_TX  0x03  /* Tag sent a FINAL */
#define UWB_EVT_NO_RESP   0x10  /* Tag got no RESP (timeout) */
#define UWB_EVT_DISC_RX   0x20  /* Anchor received a discovery poll */

/**
 * @brief Initialize OpenThread and the CoAP client.
 */
int thread_coap_init(void);

/**
 * @brief Enqueue a distance measurement for CoAP transmission.
 *
 * @param anchor_id    16-bit UWB short address of the anchor.
 * @param tag_id       16-bit UWB short address of the tag.
 * @param distance_m   Measured distance in meters.
 * @param rssi_q8      Channel RSSI in Q8.8 dBm.
 * @param fp_power_q8  First-path power in Q8.8 dBm.
 * @param fp_index     First-path CIR index (Q10.6).
 * @param peak_index   Peak CIR sample index.
 */
void thread_coap_send_distance(uint16_t anchor_id, uint16_t tag_id,
                                float distance_m,
                                int16_t rssi_q8, int16_t fp_power_q8,
                                uint16_t fp_index, uint16_t peak_index);

/**
 * @brief Send a UWB event notification over CoAP (POST /event).
 *
 * Binary payload (6 bytes, little-endian):
 *   [0-1] node_id   (uint16_t) — short address of the reporting node
 *   [2]   event     (uint8_t)  — UWB_EVT_* constant
 *   [3]   seq       (uint8_t)  — frame sequence number
 *   [4-5] reserved  (uint16_t) — zero
 *
 * @param node_id  Short address of this node.
 * @param event    One of the UWB_EVT_* constants.
 * @param seq      Current frame sequence number.
 */
void thread_coap_send_event(uint16_t node_id, uint8_t event, uint8_t seq);

/**
 * @brief Enqueue a CIR data capture for CoAP transmission.
 *
 * @param anchor_id      Anchor UWB short address.
 * @param tag_id         Tag UWB short address.
 * @param distance_mm    Distance in mm from same ranging cycle.
 * @param fp_index       First-path CIR index (Q10.6).
 * @param sample_offset  Starting sample index in CIR accumulator.
 * @param cir_data       128 complex samples (32-bit packed int16 I/Q).
 * @param num_samples    Number of samples (128).
 */
void thread_coap_send_cir(uint16_t anchor_id, uint16_t tag_id,
                           uint32_t distance_mm,
                           uint16_t fp_index, uint16_t sample_offset,
                           const uint32_t *cir_data, uint8_t num_samples);

/**
 * @brief Update the CoAP server address at runtime.
 *
 * @param addr  IPv6 address string (e.g. "ff03::1").
 * @param port  UDP port number.
 * @return 0 on success, -EINVAL if address is invalid.
 */
int thread_coap_set_server(const char *addr, uint16_t port);

#endif /* THREAD_COAP_H */
```

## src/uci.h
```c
#ifndef UCI_H
#define UCI_H

#include <stdint.h>
#include <stddef.h>

/* ── Frame format ────────────────────────────────────────────────── */
/*
 * Request:  [SYNC_REQ=0xAA] [CMD:1B] [LEN:1B] [PAYLOAD:0..252B] [CRC8:1B]
 * Response: [SYNC_RSP=0xBB] [CMD:1B] [STATUS:1B] [LEN:1B] [PAYLOAD:0..251B] [CRC8:1B]
 */

#define UCI_SYNC_REQ        0xAA
#define UCI_SYNC_RSP        0xBB
#define UCI_MAX_PAYLOAD     64   /* practical max — keeps buffers small */
#define UCI_FRAME_OVERHEAD  3    /* sync + cmd + len (request) */

/* ── Command opcodes ─────────────────────────────────────────────── */

#define UCI_CMD_GET_INFO        0x01
#define UCI_CMD_SET_ROLE        0x02
#define UCI_CMD_SET_ADDR        0x03
#define UCI_CMD_SET_INTERVAL    0x04
#define UCI_CMD_SET_SERVER      0x05
#define UCI_CMD_START           0x10
#define UCI_CMD_STOP            0x11
#define UCI_CMD_GET_STATUS      0x12
#define UCI_CMD_SAVE_CONFIG     0x20
#define UCI_CMD_FACTORY_RESET   0x21
#define UCI_CMD_ENTER_BOOTLOADER 0x22
#define UCI_CMD_REBOOT          0x23
#define UCI_CMD_CALIBRATE       0x30
#define UCI_CMD_SET_CAL_OFFSET  0x31
#define UCI_CMD_GET_CAL_OFFSET  0x32
#define UCI_CMD_CIR_ENABLE      0x40
#define UCI_CMD_GET_PEER_LIST   0x50
#define UCI_CMD_ADD_PEER        0x51
#define UCI_CMD_REMOVE_PEER     0x52
#define UCI_CMD_SET_DISC_INTERVAL 0x53
#define UCI_CMD_TRIGGER_DISC    0x54

/* ── Status codes ────────────────────────────────────────────────── */

#define UCI_STATUS_OK               0x00
#define UCI_STATUS_ERR_UNKNOWN_CMD  0x01
#define UCI_STATUS_ERR_BAD_PAYLOAD  0x02
#define UCI_STATUS_ERR_INVALID_VAL  0x03
#define UCI_STATUS_ERR_BUSY         0x04

/* ── Parsed request frame ────────────────────────────────────────── */

struct uci_request {
    uint8_t cmd;
    uint8_t len;
    uint8_t payload[UCI_MAX_PAYLOAD];
};

/* ── Response frame ──────────────────────────────────────────────── */

struct uci_response {
    uint8_t cmd;
    uint8_t status;
    uint8_t len;
    uint8_t payload[UCI_MAX_PAYLOAD];
};

/* ── CRC-8 (polynomial 0x07, init 0x00) ──────────────────────────── */

uint8_t uci_crc8(const uint8_t *data, size_t len);

/**
 * @brief Process a received UCI request and build a response.
 *
 * @param req  Parsed request (cmd, len, payload).
 * @param rsp  Output response (filled by this function).
 */
void uci_process(const struct uci_request *req, struct uci_response *rsp);

/**
 * @brief Thread-safe wrapper around uci_process().
 *
 * All transports (UART, CoAP) should call this to avoid concurrent access.
 */
void uci_process_locked(const struct uci_request *req, struct uci_response *rsp);

/**
 * @brief Serialize a response into a byte buffer for transmission.
 *
 * @param rsp      Response to serialize.
 * @param buf      Output buffer (must be at least rsp->len + 5 bytes).
 * @param buf_size Size of output buffer.
 * @return Number of bytes written, or -1 if buffer too small.
 */
int uci_serialize_response(const struct uci_response *rsp,
                           uint8_t *buf, size_t buf_size);

#endif /* UCI_H */
```
